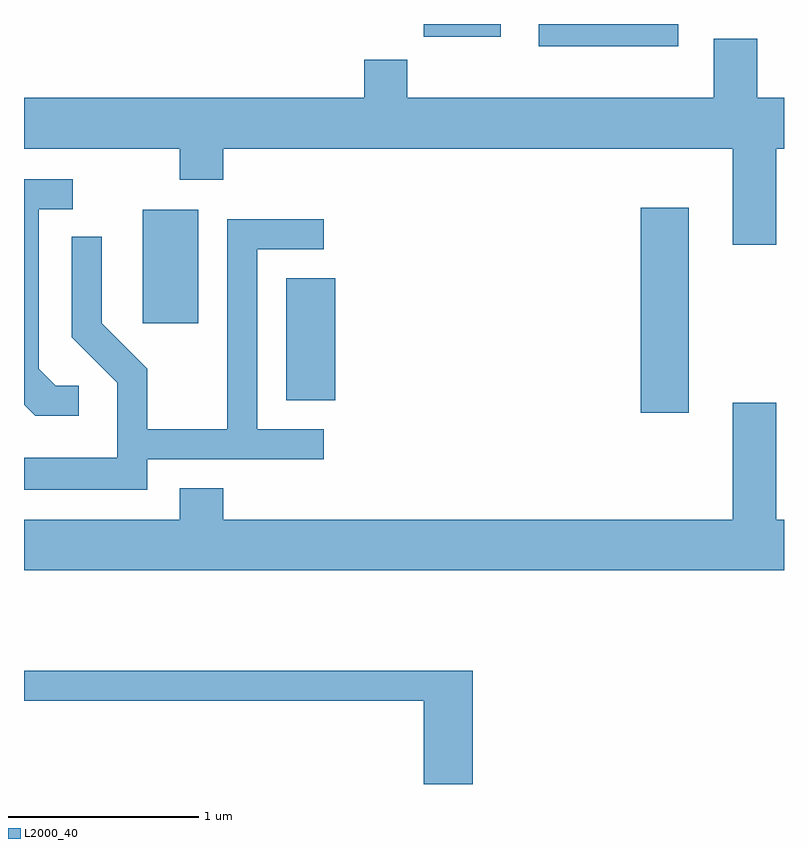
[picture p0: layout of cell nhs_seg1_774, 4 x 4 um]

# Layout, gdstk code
import gdstk
lib = gdstk.Library(unit=1e-6, precision=1e-09)
def R(c, l, rs):  # rectangles x0, y0, x1, y1
    for r in rs: c.add(gdstk.rectangle(r[:2], r[2:], *l))
def P(c, l, *ps):  # polygons
    for p in ps: c.add(gdstk.Polygon(p, *l))
L2000_40 = (2000, 40)

nhs_seg1_774 = lib.new_cell('nhs_seg1_774')
R(nhs_seg1_774, L2000_40, [(210.856,973.666,211.109,974.744), (208.991,973.731,209.249,974.374), (208.236,974.136,208.529,974.734), (210.321,975.596,211.054,975.712), (209.716,975.646,210.119,975.712)])
P(nhs_seg1_774, L2000_40, [(211.569,975.056),(211.611,975.056),(211.611,975.324),(211.469,975.324),(211.469,975.634),(211.241,975.634),(211.241,975.324),(209.629,975.324),(209.629,975.524),(209.401,975.524),(209.401,975.324),(207.611,975.324),(207.611,975.056),(208.431,975.056),(208.431,974.891),(208.659,974.891),(208.659,975.056),(211.341,975.056),(211.341,974.551),(211.569,974.551)],
  [(207.898,973.809),(207.777,973.809),(207.689,973.897),(207.689,974.736),(207.868,974.736),(207.868,974.894),(207.611,974.894),(207.611,973.709),(207.669,973.651),(207.898,973.651)],
  [(208.259,973.421),(209.188,973.421),(209.188,973.579),(208.839,973.579),(208.839,974.526),(209.188,974.526),(209.188,974.684),(208.681,974.684),(208.681,973.579),(208.259,973.579),(208.259,973.897),(208.019,974.137),(208.019,974.593),(207.861,974.593),(207.861,974.064),(208.101,973.824),(208.101,973.429),(207.611,973.429),(207.611,973.261),(208.259,973.261)],
  [(211.611,973.104),(211.569,973.104),(211.569,973.719),(211.341,973.719),(211.341,973.104),(208.659,973.104),(208.659,973.269),(208.431,973.269),(208.431,973.104),(207.611,973.104),(207.611,972.836),(211.611,972.836)],
  [(209.974,972.309),(207.611,972.309),(207.611,972.151),(209.716,972.151),(209.716,971.712),(209.974,971.712)])

lib.write_gds('nhs_seg1_774.gds')
